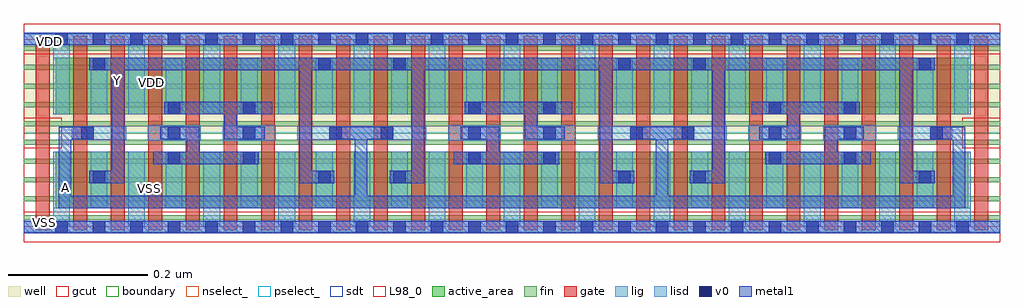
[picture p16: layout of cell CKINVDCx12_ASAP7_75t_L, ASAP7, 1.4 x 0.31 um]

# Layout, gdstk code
import gdstk
lib = gdstk.Library(unit=1e-6, precision=2.5e-10)
def R(c, l, rs):  # rectangles x0, y0, x1, y1
    for r in rs: c.add(gdstk.rectangle(r[:2], r[2:], *l))
def A(c, l, x, y, w, h, nx, ny, dx, dy):  # array of equal rectangles
    R(c, l, [(x+i*dx, y+j*dy, x+i*dx+w, y+j*dy+h) for i in range(nx) for j in range(ny)])
def P(c, l, *ps):  # polygons
    for p in ps: c.add(gdstk.Polygon(p, *l))
well = (1, 0)
fin = (2, 0)
gate = (7, 0)
gcut = (10, 0)
active_area = (11, 0)
nselect_ = (12, 0)
pselect_ = (13, 0)
lig = (16, 0)
lisd = (17, 0)
v0 = (18, 0)
metal1 = (19, 0)
sdt = (88, 0)
L98_0 = (98, 0)
boundary = (100, 0)

ckinvdcx12_asap7_75t_l = lib.new_cell('CKINVDCx12_ASAP7_75t_L')
R(ckinvdcx12_asap7_75t_l, well, [(0,0.135,1.404,0.27)])
A(ckinvdcx12_asap7_75t_l, fin, 0, 0.01, 1.404, 0.007, 1, 10, 0, 0.027)
A(ckinvdcx12_asap7_75t_l, gate, 0.017, -0.005, 0.02, 0.28, 26, 1, 0.054, 0)
R(ckinvdcx12_asap7_75t_l, gcut, [(0,-0.022,1.404,0.022), (0,0.113,0.054,0.157), (1.35,0.113,1.404,0.157), (0,0.248,1.404,0.292)])
R(ckinvdcx12_asap7_75t_l, active_area, [(0.046,0.027,1.358,0.108), (0.046,0.162,1.358,0.243)])
R(ckinvdcx12_asap7_75t_l, nselect_, [(0,0,1.404,0.135)])
R(ckinvdcx12_asap7_75t_l, pselect_, [(0,0.135,1.404,0.27)])
R(ckinvdcx12_asap7_75t_l, lig, [(0,-0.008,1.404,0.008), (0.178,0.124,0.254,0.146), (0.286,0.124,0.362,0.146), (0.61,0.124,0.686,0.146), (0.718,0.124,0.794,0.146), (1.042,0.124,1.118,0.146), (1.15,0.124,1.226,0.146), (0.069,0.125,0.147,0.145), (0.393,0.125,0.579,0.145), (0.825,0.125,1.011,0.145), (1.257,0.125,1.335,0.145), (0,0.262,1.404,0.278)])
A(ckinvdcx12_asap7_75t_l, lisd, 0.042, 0, 0.024, 0.108, 13, 2, 0.108, 0.162)
A(ckinvdcx12_asap7_75t_l, lisd, 0.096, 0.027, 0.024, 0.081, 12, 2, 0.108, 0.135)
A(ckinvdcx12_asap7_75t_l, v0, 0.045, -0.009, 0.018, 0.018, 25, 2, 0.054, 0.27)
A(ckinvdcx12_asap7_75t_l, v0, 0.207, 0.09, 0.018, 0.018, 1, 3, 0, 0.036)
A(ckinvdcx12_asap7_75t_l, v0, 0.315, 0.09, 0.018, 0.018, 1, 3, 0, 0.036)
A(ckinvdcx12_asap7_75t_l, v0, 0.639, 0.09, 0.018, 0.018, 1, 3, 0, 0.036)
A(ckinvdcx12_asap7_75t_l, v0, 0.747, 0.09, 0.018, 0.018, 1, 3, 0, 0.036)
A(ckinvdcx12_asap7_75t_l, v0, 1.071, 0.09, 0.018, 0.018, 1, 3, 0, 0.036)
A(ckinvdcx12_asap7_75t_l, v0, 1.179, 0.09, 0.018, 0.018, 1, 3, 0, 0.036)
R(ckinvdcx12_asap7_75t_l, v0, [(0.099,0.063,0.117,0.081), (0.423,0.063,0.441,0.081), (0.531,0.063,0.549,0.081), (0.855,0.063,0.873,0.081), (0.963,0.063,0.981,0.081), (1.287,0.063,1.305,0.081), (0.082,0.126,0.1,0.144), (0.439,0.126,0.457,0.144), (0.513,0.126,0.531,0.144), (0.872,0.126,0.89,0.144), (0.946,0.126,0.964,0.144), (1.304,0.126,1.322,0.144), (0.099,0.225,0.117,0.243), (0.423,0.225,0.441,0.243), (0.531,0.225,0.549,0.243), (0.855,0.225,0.873,0.243), (0.963,0.225,0.981,0.243), (1.287,0.225,1.305,0.243)])
R(ckinvdcx12_asap7_75t_l, metal1, [(0,-0.009,1.404,0.009), (0,0.261,1.404,0.279)])
P(ckinvdcx12_asap7_75t_l, metal1, [(1.354,0.144),(1.304,0.144),(1.304,0.126),(1.336,0.126),(1.336,0.045),(0.927,0.045),(0.927,0.126),(0.964,0.126),(0.964,0.144),(0.872,0.144),(0.872,0.126),(0.909,0.126),(0.909,0.045),(0.494,0.045),(0.494,0.126),(0.531,0.126),(0.531,0.144),(0.439,0.144),(0.439,0.126),(0.476,0.126),(0.476,0.045),(0.068,0.045),(0.068,0.126),(0.1,0.126),(0.1,0.144),(0.05,0.144),(0.05,0.027),(1.354,0.027)],
  [(1.31,0.081),(1.278,0.081),(1.278,0.225),(1.31,0.225),(1.31,0.243),(0.094,0.243),(0.094,0.225),(0.126,0.225),(0.126,0.081),(0.094,0.081),(0.094,0.063),(0.144,0.063),(0.144,0.225),(0.396,0.225),(0.396,0.063),(0.446,0.063),(0.446,0.081),(0.414,0.081),(0.414,0.225),(0.558,0.225),(0.558,0.081),(0.526,0.081),(0.526,0.063),(0.576,0.063),(0.576,0.225),(0.828,0.225),(0.828,0.063),(0.878,0.063),(0.878,0.081),(0.846,0.081),(0.846,0.225),(0.99,0.225),(0.99,0.081),(0.958,0.081),(0.958,0.063),(1.008,0.063),(1.008,0.225),(1.26,0.225),(1.26,0.063),(1.31,0.063)],
  [(0.338,0.108),(0.252,0.108),(0.252,0.144),(0.196,0.144),(0.196,0.126),(0.234,0.126),(0.234,0.108),(0.186,0.108),(0.186,0.09),(0.338,0.09)],
  [(0.77,0.108),(0.684,0.108),(0.684,0.144),(0.628,0.144),(0.628,0.126),(0.666,0.126),(0.666,0.108),(0.618,0.108),(0.618,0.09),(0.77,0.09)],
  [(1.218,0.108),(1.17,0.108),(1.17,0.126),(1.208,0.126),(1.208,0.144),(1.152,0.144),(1.152,0.108),(1.066,0.108),(1.066,0.09),(1.218,0.09)],
  [(1.202,0.18),(1.047,0.18),(1.047,0.162),(1.098,0.162),(1.098,0.144),(1.058,0.144),(1.058,0.126),(1.116,0.126),(1.116,0.162),(1.202,0.162)],
  [(0.357,0.18),(0.202,0.18),(0.202,0.162),(0.288,0.162),(0.288,0.126),(0.346,0.126),(0.346,0.144),(0.306,0.144),(0.306,0.162),(0.357,0.162)],
  [(0.789,0.18),(0.634,0.18),(0.634,0.162),(0.72,0.162),(0.72,0.126),(0.778,0.126),(0.778,0.144),(0.738,0.144),(0.738,0.162),(0.789,0.162)])
A(ckinvdcx12_asap7_75t_l, sdt, 0.042, 0.027, 0.024, 0.081, 25, 2, 0.054, 0.135)
R(ckinvdcx12_asap7_75t_l, L98_0, [(0,0,1.404,0.27)])
R(ckinvdcx12_asap7_75t_l, boundary, [(0,0,1.404,0.27)])
ckinvdcx12_asap7_75t_l.add(gdstk.Label('VDD', (0.184,0.207), layer=1, texttype=251))
ckinvdcx12_asap7_75t_l.add(gdstk.Label('VSS', (0.181,0.055), layer=3, texttype=251))
ckinvdcx12_asap7_75t_l.add(gdstk.Label('VSS', (0.029,0.006), layer=19, texttype=251))
ckinvdcx12_asap7_75t_l.add(gdstk.Label('VDD', (0.036,0.2665), layer=19, texttype=251))
ckinvdcx12_asap7_75t_l.add(gdstk.Label('Y', (0.135,0.21), layer=19, texttype=251))
ckinvdcx12_asap7_75t_l.add(gdstk.Label('A', (0.06,0.057), layer=19, texttype=251))

lib.write_gds('CKINVDCx12_ASAP7_75t_L.gds')
